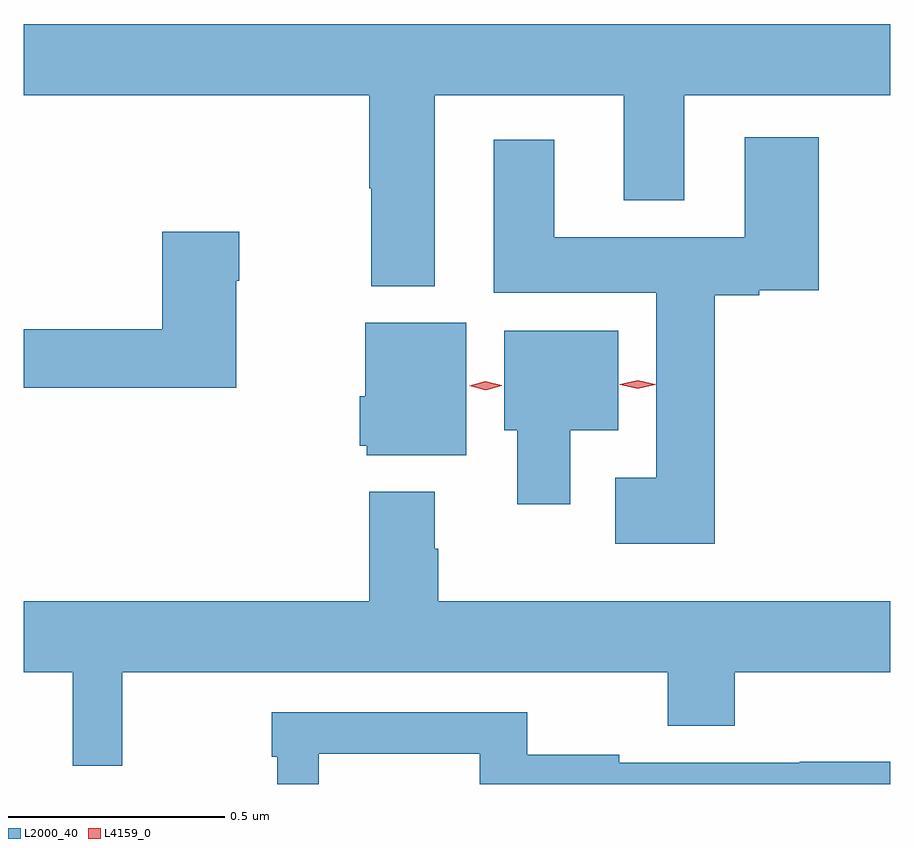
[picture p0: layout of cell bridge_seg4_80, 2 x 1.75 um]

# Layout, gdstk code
import gdstk
lib = gdstk.Library(unit=1e-6, precision=1e-09)
def P(c, l, *ps):  # polygons
    for p in ps: c.add(gdstk.Polygon(p, *l))
L2000_40 = (2000, 40)
L4159_0 = (4159, 0)

bridge_seg4_80 = lib.new_cell('bridge_seg4_80')
P(bridge_seg4_80, L2000_40, [(421.483,804.812),(421.919,804.812),(421.919,804.569),(422.059,804.569),(422.059,804.812),(422.534,804.812),(422.534,804.976),(420.534,804.976),(420.534,804.812),(421.331,804.812),(421.331,804.597),(421.336,804.597),(421.336,804.371),(421.483,804.371)],
  [(422.129,804.35),(422.232,804.35),(422.232,804.362),(422.369,804.362),(422.369,804.715),(422.198,804.715),(422.198,804.484),(421.759,804.484),(421.759,804.709),(421.619,804.709),(421.619,804.356),(421.994,804.356),(421.994,803.929),(421.899,803.929),(421.899,803.777),(422.129,803.777)],
  [(421.024,804.383),(421.032,804.383),(421.032,804.496),(420.854,804.496),(420.854,804.272),(420.534,804.272),(420.534,804.136),(421.024,804.136)],
  [(421.555,804.286),(421.322,804.286),(421.322,804.117),(421.31,804.117),(421.31,804.003),(421.326,804.003),(421.326,803.981),(421.555,803.981)],
  [(421.795,804.038),(421.906,804.038),(421.906,804.268),(421.643,804.268),(421.643,804.038),(421.673,804.038),(421.673,803.868),(421.795,803.868)],
  [(420.761,803.48),(422.02,803.48),(422.02,803.356),(422.175,803.356),(422.175,803.48),(422.534,803.48),(422.534,803.644),(421.491,803.644),(421.491,803.765),(421.483,803.765),(421.483,803.896),(421.331,803.896),(421.331,803.644),(420.534,803.644),(420.534,803.48),(420.647,803.48),(420.647,803.264),(420.761,803.264)],
  [(421.215,803.292),(421.587,803.292),(421.587,803.222),(422.534,803.222),(422.534,803.273),(422.325,803.273),(422.325,803.271),(421.908,803.271),(421.908,803.29),(421.696,803.29),(421.696,803.388),(421.107,803.388),(421.107,803.285),(421.119,803.285),(421.119,803.222),(421.215,803.222)])
P(bridge_seg4_80, L4159_0, [(421.6,804.131),(421.562,804.141),(421.562,804.141),(421.562,804.141),(421.599,804.151),(421.637,804.142),(421.637,804.141),(421.637,804.141)],
  [(421.951,804.134),(421.91,804.144),(421.91,804.144),(421.91,804.145),(421.951,804.154),(421.992,804.145),(421.992,804.144),(421.992,804.144)])

lib.write_gds('bridge_seg4_80.gds')
